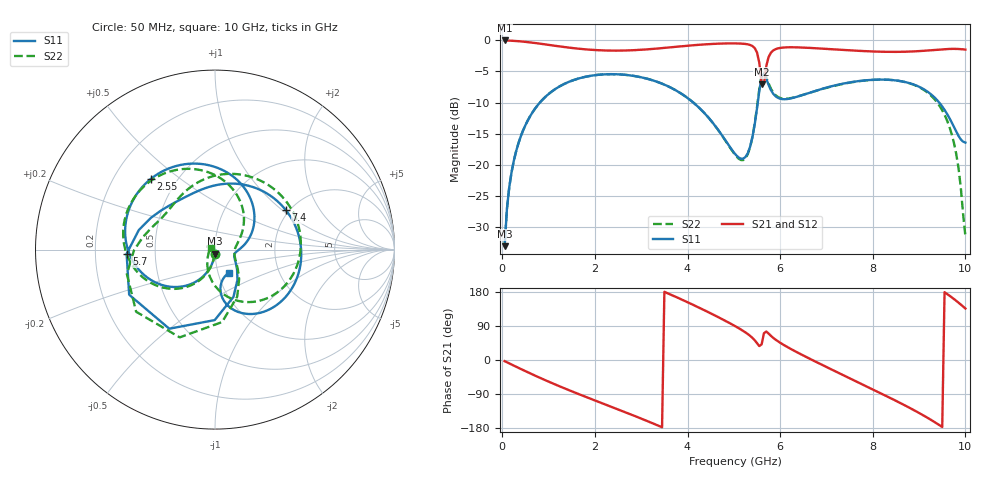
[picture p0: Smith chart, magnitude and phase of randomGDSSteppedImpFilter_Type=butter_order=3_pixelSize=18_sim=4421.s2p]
! freq	dB(S11)	phase(S11)	dB(S12)	phase(S12)
!  dB(S21)	phase(S21)	dB(S22)	phase(S22)
!S-par simulation data
#  GHz  S  DB  R 50
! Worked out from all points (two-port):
!   200 points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, 50 MHz to 10 GHz, reference 50 ohm
!   highest |S21| = -0.01 dB at 50 MHz (marker M1); lowest = -7.1 dB at 5.6 GHz (marker M2)
!   |S21| within 3 dB of the highest: start of sweep to 5.532 GHz; 5.739 GHz to end of sweep
!   lowest |S11| = -33.1 dB at 50 MHz (marker M3), VSWR 1.05, Z = 49.8 - j2.19 ohm
!   |S11| at or under -10 dB: start of sweep to 813.2 MHz; 4.124 GHz to 5.517 GHz (1.393 GHz wide, 28.9 % of centre); 9.433 GHz to end of sweep
!   |S22| runs from -33.1 to -5.0 dB; largest |S21 - S12| = 0
!   S11 on the Smith chart (normalised r, x): 50 MHz: 1.00, -0.04; 2.55 GHz: 0.36, +0.39; 5.7 GHz: 0.34, -0.02; 7.4 GHz: 1.92, +1.06; 10 GHz: 1.13, -0.30
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0.05  -33.14 -93.1  -0.01 -3.0  -0.01 -3.0  -33.13 -92.9
0.2  -21.23 -102.6  -0.05 -12.0  -0.05 -12.0  -21.23 -102.0
0.5  -13.64 -120.8  -0.23 -29.5  -0.23 -29.5  -13.64 -119.1
1.1  -8.06 -154.7  -0.82 -62.4  -0.82 -62.4  -8.06 -151.1
1.75  -5.94 171.7  -1.41 -94.8  -1.41 -94.8  -5.93 177.7
2.55  -5.48 132.2  -1.64 -132.7  -1.64 -132.7  -5.48 141.6
3.4  -6.82 88.3  -1.28 -174.9  -1.28 -174.9  -6.82 102.1
4.2  -10.50 43.0  -0.73 141.0  -0.73 141.0  -10.49 61.4
5.05  -18.48 -6.0  -0.48 87.9  -0.48 87.9  -18.64 7.9
5.3  -18.19 -26.3  -0.63 68.6  -0.63 68.6  -18.35 -22.7
5.5  -10.97 -68.7  -1.93 44.5  -1.93 44.5  -10.75 -64.8
5.6  -5.86 -120.0  -7.06 41.2  -7.06 41.2  -5.56 -111.9
5.7  -6.14 -177.3  -4.15 75.2  -4.15 75.2  -5.86 -164.5
5.85  -8.59 144.4  -1.62 58.6  -1.62 58.6  -8.39 163.1
6.1  -9.47 115.5  -1.13 38.1  -1.13 38.1  -9.39 140.9
6.7  -8.26 71.7  -1.23 -0.5  -1.23 -0.5  -8.29 105.0
7.4  -6.90 29.2  -1.55 -42.2  -1.55 -42.2  -6.94 65.1
8.35  -6.34 -23.3  -1.84 -98.5  -1.84 -98.5  -6.35 8.4
8.95  -7.30 -54.8  -1.74 -136.4  -1.74 -136.4  -7.35 -31.2
9.55  -11.18 -81.1  -1.41 179.0  -1.41 179.0  -11.98 -79.5
9.8  -14.65 -78.7  -1.37 156.4  -1.37 156.4  -18.20 -108.5
10  -16.45 -59.1  -1.48 136.0  -1.48 136.0  -31.51 158.3
